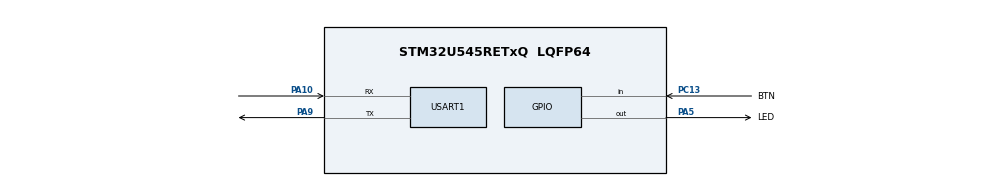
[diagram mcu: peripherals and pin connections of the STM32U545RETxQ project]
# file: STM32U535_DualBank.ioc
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CORTEX_M33_NS.userName=CORTEX_M33
Mcu.Family=STM32U5
Mcu.Name=STM32U545RETxQ
Mcu.Package=LQFP64
NUCLEO-U545RE-Q.BUTTON=1
NUCLEO-U545RE-Q.LD2=false
NUCLEO-U545RE-Q.VCP=false
NVIC.PriorityGroup=NVIC_PRIORITYGROUP_4
NVIC.USART1_IRQn=true\:0\:0\:false\:false\:true\:true\:true\:true
PA10.Mode=Asynchronous
PA10.Signal=USART1_RX
PA5.GPIO_Label=LED
PA5.Signal=GPIO_Output
PA9.Mode=Asynchronous
PA9.Signal=USART1_TX
PC13.GPIO_Label=BTN
PC13.GPIO_PuPd=GPIO_PULLDOWN
PC13.Signal=GPIO_Input
PWR.PowerMode=PWR_SMPS_SUPPLY
ProjectManager.HeapSize=0x200
ProjectManager.StackSize=0x400
ProjectManager.TargetToolchain=STM32CubeIDE
RCC.ADCFreq_Value=16000000
RCC.DACCLockSelectionVirtual=RCC_DAC1CLKSOURCE_LSI
RCC.DACCLockSelectionVirtualString=RCC_DAC1CLKSOURCE_LSI
RCC.EPOD_VALUE=4000000
RCC.HSE_VALUE=16000000
RCC.HSI48_VALUE=48000000
RCC.HSI_VALUE=16000000
RCC.LSE_VALUE=32768
RCC.LSIDIV_VALUE=32000
RCC.MSI_VALUE=4000000
RCC.USBFreq_Value=48000000
RCC.VCOOutputFreq_Value=516000000
USART1.VirtualMode-Asynchronous=VM_ASYNC
VP_ICACHE_VS_ICACHE.Mode=DirectMappedCache
VP_LPBAMQUEUE_VS_QUEUE.Mode=QUEUEMODE
VP_MEMORYMAP_VS_MEMORYMAP.Mode=CurAppReg
VP_PWR_VS_LPOM.Mode=PowerOptimisation
VP_PWR_VS_SECSignals.Mode=Security/Privilege
board=NUCLEO-U545RE-Q

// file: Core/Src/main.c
/* USER CODE BEGIN Header */
/**
 ******************************************************************************
 * @file           : main.c
 * @brief          : Main program body
 ******************************************************************************
 * @attention
 *
 * Copyright (c) 2025 STMicroelectronics.
 * All rights reserved.
 *
 * This software is licensed under terms that can be found in the LICENSE file
 * in the root directory of this software component.
 * If no LICENSE file comes with this software, it is provided AS-IS.
 *
 ******************************************************************************
 */
/* USER CODE END Header */
#include "main.h"

/* USER CODE BEGIN Includes */
#include "stdio.h"
/* USER CODE END Includes */

/* USER CODE BEGIN PD */
#define BANK_SWAP_TEST 1
#define WRITE_FLASH_BANK_TEST
/* USER CODE END PD */

UART_HandleTypeDef huart1;

/* USER CODE BEGIN PV */
uint32_t Addr = 0x08010000;
uint32_t pageError = 0;
/* USER CODE END PV */

void SystemClock_Config(void);
static void SystemPower_Config(void);
static void MX_GPIO_Init(void);
static void MX_ICACHE_Init(void);
static void MX_USART1_UART_Init(void);
/* USER CODE BEGIN PFP */
FLASH_OBProgramInitTypeDef OBInit;
/* USER CODE END PFP */

int main(void)
{

	/* MCU Configuration--------------------------------------------------------*/

	/* Reset of all peripherals, Initializes the Flash interface and the Systick. */
	HAL_Init();

	/* Configure the System Power */
	SystemPower_Config();

	/* Configure the system clock */
	SystemClock_Config();

	/* Initialize all configured peripherals */
	MX_GPIO_Init();
	MX_ICACHE_Init();
	MX_USART1_UART_Init();
	/* USER CODE BEGIN 2 */
	if(HAL_GPIO_ReadPin(BTN_GPIO_Port, BTN_Pin))
	{
		/*--- If Wake-up button is pushed, Swap Bank1/Bank2 contents ---*/
		while (HAL_GPIO_ReadPin(BTN_GPIO_Port, BTN_Pin) == SET);
#ifdef WRITE_FLASH_BANK_TEST
		/* Get the boot configuration status */
		HAL_FLASHEx_OBGetConfig(&OBInit);
		FLASH_EraseInitTypeDef eraseInitStruct;
		if ((OBInit.USERConfig & OB_SWAP_BANK_ENABLE) == OB_SWAP_BANK_DISABLE)
		{
			//I'm in Bank 1, erase Bank 2 to write there
			eraseInitStruct.TypeErase   = FLASH_TYPEERASE_PAGES;
			eraseInitStruct.Banks       = FLASH_BANK_2;
			eraseInitStruct.Page        = 8;
			eraseInitStruct.NbPages     = 1;
			Addr = 0x08050000;
		}
		else
		{
			//I'm in Bank 2, erase Bank 1 to write there
			eraseInitStruct.TypeErase   = FLASH_TYPEERASE_PAGES;
			eraseInitStruct.Banks       = FLASH_BANK_1;
			eraseInitStruct.Page        = 8;
			eraseInitStruct.NbPages     = 1;
			Addr = 0x08050000;
		}
		HAL_FLASH_Unlock();
		printf("Erasing...\r\n");
		if (HAL_FLASHEx_Erase(&eraseInitStruct, &pageError) != HAL_OK) {
			printf("Flash Erase Error: 0x%08X\r\n", HAL_FLASH_GetError());
			HAL_FLASH_Lock();
			while(1);
		}
		char data[] = "Hello World!!!!!";
		printf("Programming...\r\n");
		if (HAL_FLASH_Program(FLASH_TYPEPROGRAM_QUADWORD, Addr, (uint32_t)data) != HAL_OK) {
			printf("Flash Program Error: 0x%08X\r\n", HAL_FLASH_GetError());
			HAL_FLASH_Lock();
			while(1);
		}
		HAL_FLASH_Lock();
		printf("Done.\r\n");
		while (HAL_GPIO_ReadPin(BTN_GPIO_Port, BTN_Pin) == RESET);
#endif
#ifdef BANK_SWAP_TEST
		/* Unlock the User Flash area */
		HAL_FLASH_Unlock();

		HAL_FLASH_OB_Unlock();

		/* Get the boot configuration status */
		HAL_FLASHEx_OBGetConfig(&OBInit);

		/* Check Swap Flash banks  status */
		if ((OBInit.USERConfig & OB_SWAP_BANK_ENABLE) == OB_SWAP_BANK_DISABLE)
		{
			/*Swap to bank2 */
			/*Set OB SWAP_BANK_OPT to swap Bank2*/
			OBInit.OptionType = OPTIONBYTE_USER;
			OBInit.USERType = OB_USER_SWAP_BANK;;
			OBInit.USERConfig = OB_SWAP_BANK_ENABLE;
			HAL_FLASHEx_OBProgram(&OBInit);

			/* Launch Option bytes loading */
			HAL_FLASH_OB_Launch();
		}
		else
		{
			/* Swap to bank1 */
			/*Set OB SWAP_BANK_OPT to swap Bank1*/
			OBInit.OptionType = OPTIONBYTE_USER;
			OBInit.USERType = OB_USER_SWAP_BANK;
			OBInit.USERConfig = OB_SWAP_BANK_DISABLE;
			HAL_FLASHEx_OBProgram(&OBInit);

			/* Launch Option bytes loading */
			HAL_FLASH_OB_Launch();
		}

#endif
	}

	/* USER CODE END 2 */

	/* Infinite loop */
	while (1)
	{

		/* USER CODE BEGIN 3 */
#ifdef FLASH_BANK1
		printf("Bank1: Hello World\n\r");
		HAL_Delay(200);
		HAL_GPIO_TogglePin(LED_GPIO_Port, LED_Pin);
#endif
#ifdef FLASH_BANK2
		printf("Bank2: Hello World\n\r");
		HAL_Delay(1000);
		HAL_GPIO_TogglePin(LED_GPIO_Port, LED_Pin);
#endif
	}
	/* USER CODE END 3 */
}

void SystemClock_Config(void)
{
	RCC_OscInitTypeDef RCC_OscInitStruct = {0};
	RCC_ClkInitTypeDef RCC_ClkInitStruct = {0};

	/** Configure the main internal regulator output voltage
	 */
	if (HAL_PWREx_ControlVoltageScaling(PWR_REGULATOR_VOLTAGE_SCALE4) != HAL_OK)
	{
		Error_Handler();
	}

	/** Initializes the CPU, AHB and APB buses clocks
	 */
	RCC_OscInitStruct.OscillatorType = RCC_OSCILLATORTYPE_MSI;
	RCC_OscInitStruct.MSIState = RCC_MSI_ON;
	RCC_OscInitStruct.MSICalibrationValue = RCC_MSICALIBRATION_DEFAULT;
	RCC_OscInitStruct.MSIClockRange = RCC_MSIRANGE_4;
	RCC_OscInitStruct.PLL.PLLState = RCC_PLL_NONE;
	if (HAL_RCC_OscConfig(&RCC_OscInitStruct) != HAL_OK)
	{
		Error_Handler();
	}

	/** Initializes the CPU, AHB and APB buses clocks
	 */
	RCC_ClkInitStruct.ClockType = RCC_CLOCKTYPE_HCLK|RCC_CLOCKTYPE_SYSCLK
			|RCC_CLOCKTYPE_PCLK1|RCC_CLOCKTYPE_PCLK2
			|RCC_CLOCKTYPE_PCLK3;
	RCC_ClkInitStruct.SYSCLKSource = RCC_SYSCLKSOURCE_MSI;
	RCC_ClkInitStruct.AHBCLKDivider = RCC_SYSCLK_DIV1;
	RCC_ClkInitStruct.APB1CLKDivider = RCC_HCLK_DIV1;
	RCC_ClkInitStruct.APB2CLKDivider = RCC_HCLK_DIV1;
	RCC_ClkInitStruct.APB3CLKDivider = RCC_HCLK_DIV1;

	if (HAL_RCC_ClockConfig(&RCC_ClkInitStruct, FLASH_LATENCY_0) != HAL_OK)
	{
		Error_Handler();
	}
}

/**
 * @brief Power Configuration
 * @retval None
 */
static void SystemPower_Config(void)
{

	/*
	 * Switch to SMPS regulator instead of LDO
	 */
	if (HAL_PWREx_ConfigSupply(PWR_SMPS_SUPPLY) != HAL_OK)
	{
		Error_Handler();
	}
}

static void MX_ICACHE_Init(void)
{

	/** Enable instruction cache in 1-way (direct mapped cache)
	 */
	if (HAL_ICACHE_ConfigAssociativityMode(ICACHE_1WAY) != HAL_OK)
	{
		Error_Handler();
	}
	if (HAL_ICACHE_Enable() != HAL_OK)
	{
		Error_Handler();
	}

}

static void MX_USART1_UART_Init(void)
{

	huart1.Instance = USART1;
	huart1.Init.BaudRate = 115200;
	huart1.Init.WordLength = UART_WORDLENGTH_8B;
	huart1.Init.StopBits = UART_STOPBITS_1;
	huart1.Init.Parity = UART_PARITY_NONE;
	huart1.Init.Mode = UART_MODE_TX_RX;
	huart1.Init.HwFlowCtl = UART_HWCONTROL_NONE;
	huart1.Init.OverSampling = UART_OVERSAMPLING_16;
	huart1.Init.OneBitSampling = UART_ONE_BIT_SAMPLE_DISABLE;
	huart1.Init.ClockPrescaler = UART_PRESCALER_DIV1;
	huart1.AdvancedInit.AdvFeatureInit = UART_ADVFEATURE_NO_INIT;
	if (HAL_UART_Init(&huart1) != HAL_OK)
	{
		Error_Handler();
	}
	if (HAL_UARTEx_SetTxFifoThreshold(&huart1, UART_TXFIFO_THRESHOLD_1_8) != HAL_OK)
	{
		Error_Handler();
	}
	if (HAL_UARTEx_SetRxFifoThreshold(&huart1, UART_RXFIFO_THRESHOLD_1_8) != HAL_OK)
	{
		Error_Handler();
	}
	if (HAL_UARTEx_DisableFifoMode(&huart1) != HAL_OK)
	{
		Error_Handler();
	}

}

static void MX_GPIO_Init(void)
{
	GPIO_InitTypeDef GPIO_InitStruct = {0};

	/* GPIO Ports Clock Enable */
	__HAL_RCC_GPIOC_CLK_ENABLE();
	__HAL_RCC_GPIOA_CLK_ENABLE();

	/*Configure GPIO pin Output Level */
	HAL_GPIO_WritePin(LED_GPIO_Port, LED_Pin, GPIO_PIN_RESET);

	/*Configure GPIO pin : BTN_Pin */
	GPIO_InitStruct.Pin = BTN_Pin;
	GPIO_InitStruct.Mode = GPIO_MODE_INPUT;
	GPIO_InitStruct.Pull = GPIO_PULLDOWN;
	HAL_GPIO_Init(BTN_GPIO_Port, &GPIO_InitStruct);

	/*Configure GPIO pin : LED_Pin */
	GPIO_InitStruct.Pin = LED_Pin;
	GPIO_InitStruct.Mode = GPIO_MODE_OUTPUT_PP;
	GPIO_InitStruct.Pull = GPIO_NOPULL;
	GPIO_InitStruct.Speed = GPIO_SPEED_FREQ_LOW;
	HAL_GPIO_Init(LED_GPIO_Port, &GPIO_InitStruct);

}

/* USER CODE BEGIN 4 */
/**
 * @brief  Retargets the C library printf function to the USART.
 *   None
 * @retval None
 */
int __io_putchar(int ch)
{
	/* Place your implementation of fputc here */
	/* e.g. write a character to the USART1 and Loop until the end of transmission */
	HAL_UART_Transmit(&huart1, (uint8_t *)&ch, 1, 0xFFFF);

	return ch;
}
/* USER CODE END 4 */

void Error_Handler(void)
{
	__disable_irq();
	while (1)
	{
	}
}
